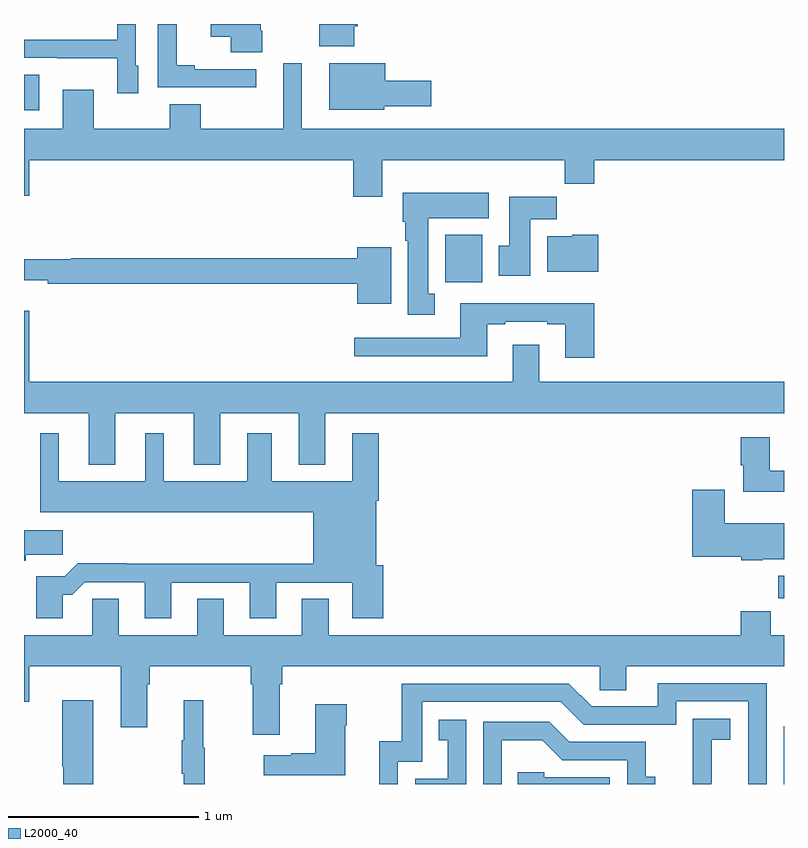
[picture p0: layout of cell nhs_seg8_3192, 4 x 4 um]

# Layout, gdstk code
import gdstk
lib = gdstk.Library(unit=1e-6, precision=1e-09)
def R(c, l, rs):  # rectangles x0, y0, x1, y1
    for r in rs: c.add(gdstk.rectangle(r[:2], r[2:], *l))
def P(c, l, *ps):  # polygons
    for p in ps: c.add(gdstk.Polygon(p, *l))
L2000_40 = (2000, 40)

nhs_seg8_3192 = lib.new_cell('nhs_seg8_3192')
R(nhs_seg8_3192, L2000_40, [(312.999,1095.9,313,1096.203), (312.97,1096.878,313,1096.996), (311.217,1098.54,311.413,1098.79), (309,1099.446,309.079,1099.632)])
P(nhs_seg8_3192, L2000_40, [(309.601,1099.68),(309.588,1099.68),(309.588,1099.9),(309.492,1099.9),(309.492,1099.818),(309,1099.818),(309,1099.722),(309.175,1099.722),(309.175,1099.721),(309.492,1099.721),(309.492,1099.536),(309.601,1099.536)],
  [(310.254,1099.864),(310.246,1099.864),(310.246,1099.9),(309.983,1099.9),(309.983,1099.832),(310.088,1099.832),(310.088,1099.752),(310.254,1099.752)],
  [(310.737,1099.888),(310.757,1099.888),(310.757,1099.9),(310.554,1099.9),(310.554,1099.784),(310.737,1099.784)],
  [(310.222,1099.662),(309.898,1099.662),(309.898,1099.682),(309.803,1099.682),(309.803,1099.9),(309.705,1099.9),(309.705,1099.566),(310.222,1099.566)],
  [(309.203,1099.555),(309.203,1099.348),(309,1099.348),(309,1098.996),(309.028,1098.996),(309.028,1099.184),(310.733,1099.184),(310.733,1098.99),(310.885,1098.99),(310.885,1099.184),(311.845,1099.184),(311.845,1099.06),(312.002,1099.06),(312.002,1099.184),(313,1099.184),(313,1099.348),(310.462,1099.348),(310.462,1099.693),(310.364,1099.693),(310.364,1099.348),(309.931,1099.348),(309.931,1099.477),(309.767,1099.477),(309.767,1099.348),(309.367,1099.348),(309.367,1099.555)],
  [(310.896,1099.466),(311.143,1099.466),(311.143,1099.601),(310.9,1099.601),(310.9,1099.693),(310.607,1099.693),(310.607,1099.448),(310.896,1099.448)],
  [(311.161,1098.481),(311.128,1098.481),(311.128,1098.878),(311.446,1098.878),(311.446,1099.012),(310.994,1099.012),(310.994,1098.858),(311.006,1098.858),(311.006,1098.758),(311.021,1098.758),(311.021,1098.369),(311.161,1098.369)],
  [(311.665,1098.872),(311.804,1098.872),(311.804,1098.991),(311.555,1098.991),(311.555,1098.732),(311.498,1098.732),(311.498,1098.576),(311.665,1098.576)],
  [(312.022,1098.79),(311.886,1098.79),(311.886,1098.784),(311.753,1098.784),(311.753,1098.596),(312.022,1098.596)],
  [(310.933,1098.724),(310.754,1098.724),(310.754,1098.668),(309.248,1098.668),(309.248,1098.661),(309,1098.661),(309,1098.551),(309.124,1098.551),(309.124,1098.532),(310.754,1098.532),(310.754,1098.428),(310.933,1098.428)],
  [(312.002,1098.43),(311.297,1098.43),(311.297,1098.249),(310.737,1098.249),(310.737,1098.152),(311.437,1098.152),(311.437,1098.321),(311.533,1098.321),(311.533,1098.333),(311.753,1098.333),(311.753,1098.321),(311.849,1098.321),(311.849,1098.144),(312.002,1098.144)],
  [(309.481,1097.852),(309.893,1097.852),(309.893,1097.579),(310.033,1097.579),(310.033,1097.852),(310.445,1097.852),(310.445,1097.579),(310.585,1097.579),(310.585,1097.852),(313,1097.852),(313,1098.016),(311.713,1098.016),(311.713,1098.211),(311.573,1098.211),(311.573,1098.016),(309.028,1098.016),(309.028,1098.391),(309,1098.391),(309,1097.852),(309.341,1097.852),(309.341,1097.579),(309.481,1097.579)],
  [(309.205,1096.895),(309.254,1096.895),(309.321,1096.962),(309.635,1096.962),(309.635,1096.773),(309.775,1096.773),(309.775,1096.959),(310.187,1096.959),(310.187,1096.773),(310.327,1096.773),(310.327,1096.959),(310.727,1096.959),(310.727,1096.773),(310.892,1096.773),(310.892,1097.052),(310.855,1097.052),(310.855,1097.39),(310.868,1097.39),(310.868,1097.746),(310.727,1097.746),(310.727,1097.494),(310.303,1097.494),(310.303,1097.746),(310.175,1097.746),(310.175,1097.494),(309.736,1097.494),(309.736,1097.746),(309.638,1097.746),(309.638,1097.494),(309.184,1097.494),(309.184,1097.746),(309.086,1097.746),(309.086,1097.33),(310.523,1097.33),(310.523,1097.06),(309.539,1097.06),(309.539,1097.063),(309.284,1097.063),(309.214,1096.993),(309.065,1096.993),(309.065,1096.773),(309.205,1096.773)],
  [(313,1097.548),(312.925,1097.548),(312.925,1097.725),(312.773,1097.725),(312.773,1097.577),(312.785,1097.577),(312.785,1097.438),(313,1097.438)],
  [(312.888,1097.084),(313,1097.084),(313,1097.272),(312.688,1097.272),(312.688,1097.449),(312.518,1097.449),(312.518,1097.096),(312.774,1097.096),(312.774,1097.078),(312.888,1097.078)],
  [(309.01,1097.107),(309.205,1097.107),(309.205,1097.236),(309,1097.236),(309,1097.075),(309.01,1097.075)],
  [(310.345,1096.424),(310.358,1096.424),(310.358,1096.52),(312.03,1096.52),(312.03,1096.393),(312.169,1096.393),(312.169,1096.52),(313,1096.52),(313,1096.684),(312.929,1096.684),(312.929,1096.808),(312.773,1096.808),(312.773,1096.684),(310.603,1096.684),(310.603,1096.874),(310.463,1096.874),(310.463,1096.684),(310.051,1096.684),(310.051,1096.874),(309.911,1096.874),(309.911,1096.684),(309.499,1096.684),(309.499,1096.874),(309.36,1096.874),(309.36,1096.684),(309,1096.684),(309,1096.332),(309.028,1096.332),(309.028,1096.52),(309.509,1096.52),(309.509,1096.2),(309.649,1096.2),(309.649,1096.424),(309.662,1096.424),(309.662,1096.52),(310.193,1096.52),(310.193,1096.424),(310.205,1096.424),(310.205,1096.158),(310.345,1096.158)],
  [(310.968,1096.017),(311.097,1096.017),(311.097,1096.332),(311.826,1096.332),(311.946,1096.212),(312.432,1096.212),(312.432,1096.335),(312.813,1096.335),(312.813,1095.9),(312.909,1095.9),(312.909,1096.431),(312.335,1096.431),(312.335,1096.308),(311.988,1096.308),(311.868,1096.428),(310.989,1096.428),(310.989,1096.126),(310.871,1096.126),(310.871,1095.9),(310.968,1095.9)],
  [(309.952,1096.092),(309.944,1096.092),(309.944,1096.342),(309.842,1096.342),(309.842,1096.129),(309.831,1096.129),(309.831,1095.955),(309.842,1095.955),(309.842,1095.9),(309.952,1095.9)],
  [(309.364,1096.342),(309.2,1096.342),(309.2,1095.99),(309.206,1095.99),(309.206,1095.9),(309.364,1095.9)],
  [(310.69,1096.208),(310.698,1096.208),(310.698,1096.321),(310.532,1096.321),(310.532,1096.061),(310.406,1096.061),(310.406,1096.051),(310.263,1096.051),(310.263,1095.947),(310.69,1095.947)],
  [(312.618,1095.905),(312.62,1095.905),(312.62,1096.133),(312.718,1096.133),(312.718,1096.243),(312.52,1096.243),(312.52,1096.037),(312.521,1096.037),(312.521,1095.9),(312.618,1095.9)],
  [(311.328,1096.237),(311.182,1096.237),(311.182,1096.131),(311.231,1096.131),(311.231,1095.927),(311.058,1095.927),(311.058,1095.9),(311.328,1095.9)],
  [(311.514,1096.13),(311.728,1096.13),(311.832,1096.026),(312.174,1096.026),(312.174,1095.9),(312.322,1095.9),(312.322,1095.937),(312.273,1095.937),(312.273,1096.122),(311.869,1096.122),(311.764,1096.227),(311.418,1096.227),(311.418,1095.9),(311.514,1095.9)],
  [(312.084,1095.936),(311.739,1095.936),(311.739,1095.963),(311.599,1095.963),(311.599,1095.9),(312.084,1095.9)])

lib.write_gds('nhs_seg8_3192.gds')
